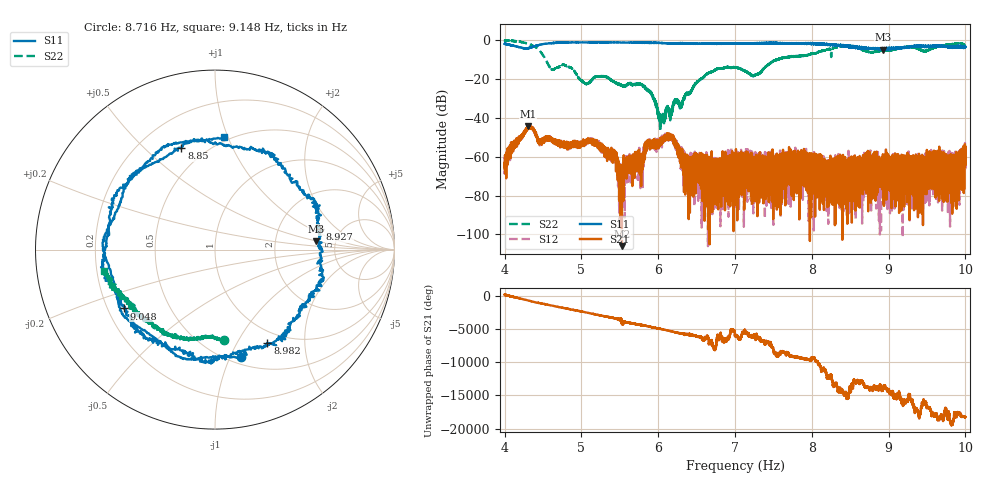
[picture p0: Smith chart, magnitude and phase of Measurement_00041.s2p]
!Created with skrf (http://scikit-rf.org).
# Hz S RI R 50.0
!freq ReS11 ImS11 ReS21 ImS21 ReS12 ImS12 ReS22 ImS22
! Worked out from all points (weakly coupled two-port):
!   14001 points, 4 Hz to 10 Hz, reference 50 ohm
!   highest |S21| = -44.20 dB at 4.304 Hz (marker M1); lowest = -106.0 dB at 5.527 Hz (marker M2)
!   lowest |S11| = -4.9 dB at 8.931 Hz (marker M3), VSWR 3.62, Z = 177 + j24.1 ohm
!   |S11| at or under -10 dB: nowhere
!   |S22| runs from -47.0 to -0.2 dB; largest |S21 - S12| = 0.0023
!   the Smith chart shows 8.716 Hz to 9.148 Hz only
!   S11 on the Smith chart (normalised r, x): 8.716 Hz: 0.56, -1.10; 8.85 Hz: 0.37, +0.65; 8.927 Hz: 3.47, +1.23; 8.982 Hz: 0.84, -1.35; 9.048 Hz: 0.27, -0.28; 9.148 Hz: 0.47, +0.97
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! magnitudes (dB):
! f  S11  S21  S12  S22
! 4 Hz  -1.9  -66.3  -65.9  -0.2
! 4.304 Hz  -4.1  -44.2  -45.6  -1.8
! 5 Hz  -1.2  -52.6  -53.4  -20.7
! 5.42 Hz  -1.2  -58.2  -61.5  -21.4
! 5.527 Hz  -1.2  -106.0  -70.9  -23.3
! 5.798 Hz  -1.3  -59.1  -61.7  -23.4
! 6 Hz  -1.4  -54.1  -52.7  -36.9
! 6.172 Hz  -1.8  -50.1  -49.1  -37.3
! 6.387 Hz  -1.7  -64.5  -69.7  -27.5
! 7 Hz  -1.9  -75.0  -60.1  -14.0
! 7.248 Hz  -1.6  -69.0  -70.9  -18.2
! 8 Hz  -1.8  -70.8  -69.3  -6.9
! 8.716 Hz  -4.2  -73.2  -68.2  -5.9
! 8.85 Hz  -4.5  -67.2  -76.6  -5.8
! 8.927 Hz  -4.5  -64.1  -67.0  -5.3
! 8.931 Hz  -4.9  -66.7  -62.8  -5.4
! 8.982 Hz  -4.5  -64.8  -65.2  -5.4
! 9 Hz  -4.5  -65.5  -65.6  -5.0
! 9.048 Hz  -4.4  -65.6  -63.6  -5.0
! 9.148 Hz  -4.0  -66.9  -64.9  -4.0
! 9.818 Hz  -3.4  -65.6  -63.4  -2.1
! 10 Hz  -3.5  -63.5  -58.2  -3.1
